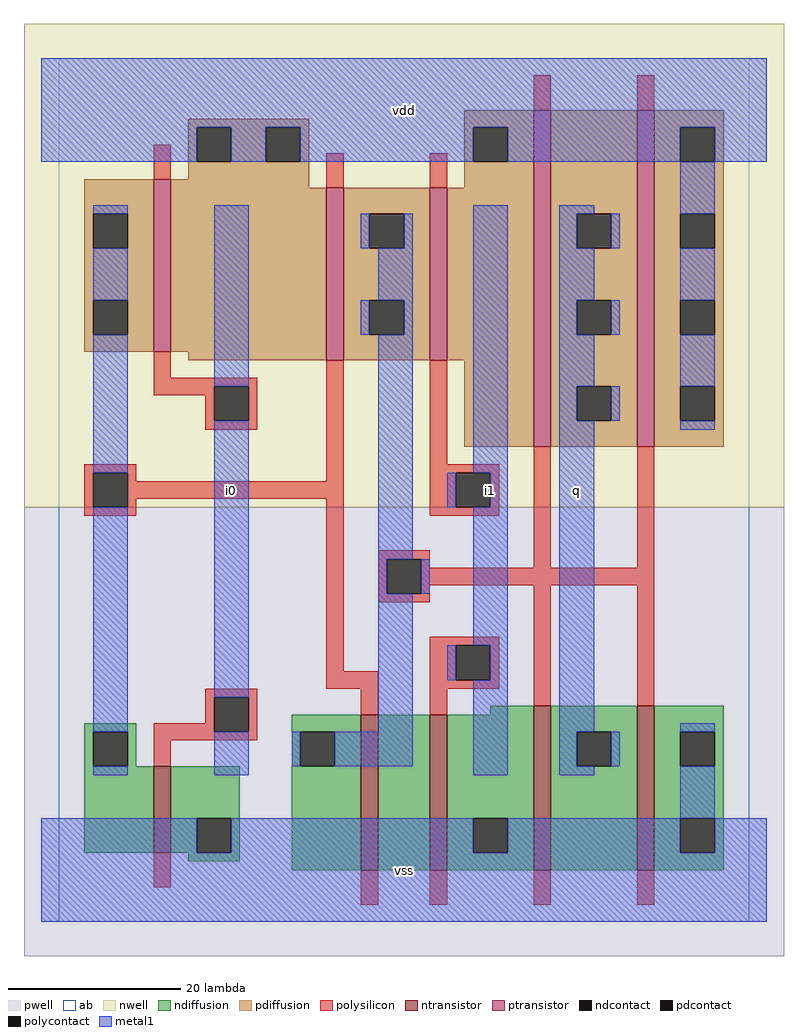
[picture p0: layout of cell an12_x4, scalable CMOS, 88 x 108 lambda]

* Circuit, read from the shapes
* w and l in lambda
.subckt an12_x4 i0 i1 q vdd vss
M1 vss i0 n1 VSUBS nfet w=10 l=2
M2 n2 n1 n3 VSUBS nfet w=18 l=2
M3 vss i1 n2 VSUBS nfet w=18 l=2
M4 q n3 vss VSUBS nfet w=19 l=2 m=2
M5 vdd i0 n1 n4 pfet w=20 l=2
M6 n3 n1 vdd n4 pfet w=20 l=2
M7 vdd i1 n3 n4 pfet w=20 l=2
M8 q n3 vdd n4 pfet w=39 l=2 m=2
.ends

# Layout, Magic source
magic
tech scmos
<< ab >>
rect 0 0 80 100
<< pwell >>
rect -4 -4 84 48
<< nwell >>
rect -4 48 84 104
<< polysilicon >>
rect 55 94 57 98
rect 67 94 69 98
rect 11 86 13 90
rect 31 85 33 89
rect 43 85 45 89
rect 11 63 13 66
rect 11 62 23 63
rect 11 61 18 62
rect 17 58 18 61
rect 22 58 23 62
rect 17 57 23 58
rect 3 52 9 53
rect 3 48 4 52
rect 8 51 9 52
rect 31 51 33 65
rect 8 49 33 51
rect 8 48 9 49
rect 3 47 9 48
rect 31 29 33 49
rect 43 53 45 65
rect 43 52 51 53
rect 43 48 46 52
rect 50 48 51 52
rect 43 47 51 48
rect 37 42 43 43
rect 37 38 38 42
rect 42 41 43 42
rect 55 41 57 55
rect 67 41 69 55
rect 42 39 69 41
rect 42 38 43 39
rect 37 37 43 38
rect 43 32 51 33
rect 31 27 37 29
rect 17 26 23 27
rect 17 23 18 26
rect 11 22 18 23
rect 22 22 23 26
rect 35 24 37 27
rect 43 28 46 32
rect 50 28 51 32
rect 43 27 51 28
rect 43 24 45 27
rect 55 25 57 39
rect 67 25 69 39
rect 11 21 23 22
rect 11 18 13 21
rect 11 4 13 8
rect 35 2 37 6
rect 43 2 45 6
rect 55 2 57 6
rect 67 2 69 6
<< ndiffusion >>
rect 3 22 9 23
rect 3 18 4 22
rect 8 18 9 22
rect 50 24 55 25
rect 27 22 35 24
rect 27 18 28 22
rect 32 18 35 22
rect 3 8 11 18
rect 13 12 21 18
rect 13 8 16 12
rect 20 8 21 12
rect 15 7 21 8
rect 27 6 35 18
rect 37 6 43 24
rect 45 12 55 24
rect 45 8 48 12
rect 52 8 55 12
rect 45 6 55 8
rect 57 22 67 25
rect 57 18 60 22
rect 64 18 67 22
rect 57 6 67 18
rect 69 22 77 25
rect 69 18 72 22
rect 76 18 77 22
rect 69 12 77 18
rect 69 8 72 12
rect 76 8 77 12
rect 69 6 77 8
<< pdiffusion >>
rect 15 92 29 93
rect 15 88 16 92
rect 20 88 24 92
rect 28 88 29 92
rect 47 92 55 94
rect 15 86 29 88
rect 3 82 11 86
rect 3 78 4 82
rect 8 78 11 82
rect 3 72 11 78
rect 3 68 4 72
rect 8 68 11 72
rect 3 66 11 68
rect 13 85 29 86
rect 47 88 48 92
rect 52 88 55 92
rect 47 85 55 88
rect 13 66 31 85
rect 15 65 31 66
rect 33 82 43 85
rect 33 78 36 82
rect 40 78 43 82
rect 33 72 43 78
rect 33 68 36 72
rect 40 68 43 72
rect 33 65 43 68
rect 45 65 55 85
rect 47 55 55 65
rect 57 82 67 94
rect 57 78 60 82
rect 64 78 67 82
rect 57 72 67 78
rect 57 68 60 72
rect 64 68 67 72
rect 57 62 67 68
rect 57 58 60 62
rect 64 58 67 62
rect 57 55 67 58
rect 69 92 77 94
rect 69 88 72 92
rect 76 88 77 92
rect 69 82 77 88
rect 69 78 72 82
rect 76 78 77 82
rect 69 72 77 78
rect 69 68 72 72
rect 76 68 77 72
rect 69 62 77 68
rect 69 58 72 62
rect 76 58 77 62
rect 69 55 77 58
<< metal1 >>
rect -2 92 82 100
rect -2 88 16 92
rect 20 88 24 92
rect 28 88 48 92
rect 52 88 72 92
rect 76 88 82 92
rect 4 82 8 83
rect 4 72 8 78
rect 4 52 8 68
rect 4 22 8 48
rect 4 17 8 18
rect 18 62 22 83
rect 35 78 36 82
rect 40 78 41 82
rect 37 72 41 78
rect 35 68 36 72
rect 40 68 41 72
rect 18 26 22 58
rect 37 42 41 68
rect 48 52 52 83
rect 45 48 46 52
rect 50 48 52 52
rect 37 38 38 42
rect 42 38 43 42
rect 37 22 41 38
rect 48 32 52 48
rect 45 28 46 32
rect 50 28 52 32
rect 18 17 22 22
rect 27 18 28 22
rect 32 18 41 22
rect 48 17 52 28
rect 58 82 62 83
rect 72 82 76 88
rect 58 78 60 82
rect 64 78 65 82
rect 58 72 62 78
rect 72 72 76 78
rect 58 68 60 72
rect 64 68 65 72
rect 58 62 62 68
rect 72 62 76 68
rect 58 58 60 62
rect 64 58 65 62
rect 58 22 62 58
rect 72 57 76 58
rect 72 22 76 23
rect 58 18 60 22
rect 64 18 65 22
rect 58 17 62 18
rect 72 12 76 18
rect -2 8 16 12
rect 20 8 48 12
rect 52 8 72 12
rect 76 8 82 12
rect -2 0 82 8
<< ntransistor >>
rect 11 8 13 18
rect 35 6 37 24
rect 43 6 45 24
rect 55 6 57 25
rect 67 6 69 25
<< ptransistor >>
rect 11 66 13 86
rect 31 65 33 85
rect 43 65 45 85
rect 55 55 57 94
rect 67 55 69 94
<< polycontact >>
rect 18 58 22 62
rect 4 48 8 52
rect 46 48 50 52
rect 38 38 42 42
rect 18 22 22 26
rect 46 28 50 32
<< ndcontact >>
rect 4 18 8 22
rect 28 18 32 22
rect 16 8 20 12
rect 48 8 52 12
rect 60 18 64 22
rect 72 18 76 22
rect 72 8 76 12
<< pdcontact >>
rect 16 88 20 92
rect 24 88 28 92
rect 4 78 8 82
rect 4 68 8 72
rect 48 88 52 92
rect 36 78 40 82
rect 36 68 40 72
rect 60 78 64 82
rect 60 68 64 72
rect 60 58 64 62
rect 72 88 76 92
rect 72 78 76 82
rect 72 68 76 72
rect 72 58 76 62
<< labels >>
rlabel metal1 20 50 20 50 6 i0
rlabel metal1 40 6 40 6 6 vss
rlabel metal1 50 50 50 50 6 i1
rlabel metal1 40 94 40 94 6 vdd
rlabel metal1 60 50 60 50 6 q
<< end >>
